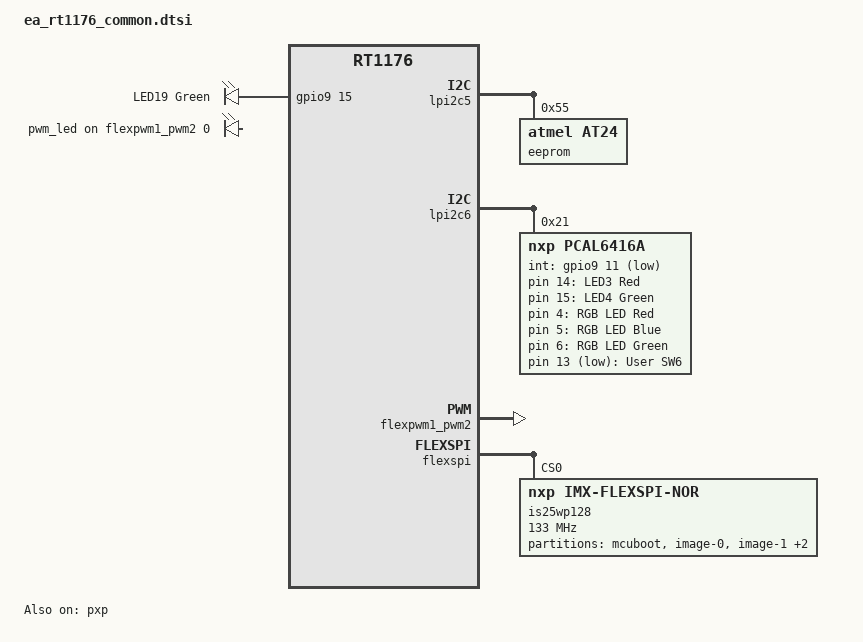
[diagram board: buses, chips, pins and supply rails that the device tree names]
/*
 * Copyright 2024, Embedded Artists
 *
 * SPDX-License-Identifier: Apache-2.0
 */

#include "ea_rt1176_kit-pinctrl.dtsi"
#include <zephyr/dt-bindings/input/input-event-codes.h>

/ {
	aliases {
		led0 = &led19;
		led1 = &led3;
		led2 = &led4;
		led3 = &led5_red;
		led4 = &led5_blue;
		led5 = &led5_green;
		sw0 = &user_button;
		eeprom0 = &eeprom;

		pwm-led0 = &pwm_led;
	};

	leds {
		compatible = "gpio-leds";

		led19: led-1 {
			gpios = <&gpio9 15 GPIO_ACTIVE_HIGH>;
			label = "LED19 Green";
		};

		led3: led-2 {
			gpios = <&pcal6416a 14 GPIO_ACTIVE_HIGH>;
			label = "LED3 Red";
		};

		led4: led-3 {
			gpios = <&pcal6416a 15 GPIO_ACTIVE_HIGH>;
			label = "LED4 Green";
		};

		led5_red: led-4 {
			gpios = <&pcal6416a 4 GPIO_ACTIVE_HIGH>;
			label = "RGB LED Red";
		};

		led5_blue: led-5 {
			gpios = <&pcal6416a 5 GPIO_ACTIVE_HIGH>;
			label = "RGB LED Blue";
		};

		led5_green: led-6 {
			gpios = <&pcal6416a 6 GPIO_ACTIVE_HIGH>;
			label = "RGB LED Green";
		};

	};

	buttons {
		compatible = "gpio-keys";

		user_button: button-1 {
			gpios = <&pcal6416a 13 (GPIO_PULL_UP | GPIO_ACTIVE_LOW)>;
			label = "User SW6";
			zephyr,code = <INPUT_KEY_0>;
		};
	};

	pwmleds {
		compatible = "pwm-leds";

		pwm_led: pwm_led {
			pwms = <&flexpwm1_pwm2 0 PWM_MSEC(20) PWM_POLARITY_NORMAL>;
		};
	};

};

&lpi2c5 {
	status = "okay";
	pinctrl-0 = <&pinmux_lpi2c5>;
	pinctrl-names = "default";

	eeprom: at24@55 {
		compatible = "atmel,at24";
		reg = <0x55>;
		size = <8192>;
		pagesize = <32>;
		address-width = <16>;
		timeout = <5>;
	};
};

&lpi2c6 {
	status = "okay";
	pinctrl-0 = <&pinmux_lpi2c6>;
	pinctrl-names = "default";

	pcal6416a: pcal6416a@21 {
		compatible = "nxp,pcal6416a";

		reg = <0x21>;

		gpio-controller;
		#gpio-cells = <2>;

		ngpios = <16>;
		int-gpios = <&gpio9 11 (GPIO_PULL_UP | GPIO_ACTIVE_LOW)>;
	};

};

&flexpwm1_pwm2 {
	status = "okay";
	pinctrl-0 = <&pinmux_flexpwm1>;
	pinctrl-names = "default";
};

&lpspi1 {
	pinctrl-0 = <&pinmux_lpspi1>;
	pinctrl-names = "default";
};

&lpadc0 {
	pinctrl-0 = <&pinmux_lpadc0>;
	pinctrl-names = "default";
};

&flexspi {
	pinctrl-0 = <&pinmux_flexspi1>;
	pinctrl-names = "default";
};

&flexspi {
	status = "okay";
	ahb-prefetch;
	ahb-read-addr-opt;
	rx-clock-source = <1>;
	reg = <0x400cc000 0x4000>, <0x30000000 DT_SIZE_M(16)>;
	is25wp128: is25wp128@0 {
		compatible = "nxp,imx-flexspi-nor";
		size = <134217728>;
		reg = <0>;
		spi-max-frequency = <133000000>;
		status = "okay";
		jedec-id = [9d 70 17];
		erase-block-size = <4096>;
		write-block-size = <1>;

		partitions {
			compatible = "fixed-partitions";
			#address-cells = <1>;
			#size-cells = <1>;

			boot_partition: partition@0 {
				label = "mcuboot";
				reg = <0x00000000 DT_SIZE_K(128)>;
			};
			/* Note slot 0 has one additional sector,
			 * this is intended for use with the swap move algorithm
			 */
			slot0_partition: partition@20000 {
				label = "image-0";
				reg = <0x00020000 0x301000>;
			};
			slot1_partition: partition@321000 {
				label = "image-1";
				reg = <0x00321000 0x300000>;
			};
			scratch_partition: partition@621000 {
				label = "image-scratch";
				reg = <0x00621000 DT_SIZE_K(128)>;
			};
			storage_partition: partition@641000 {
				label = "storage";
				reg = <0x00641000 DT_SIZE_K(1856)>;
			};
		};
	};
};

&pxp {
	status = "okay";
};
